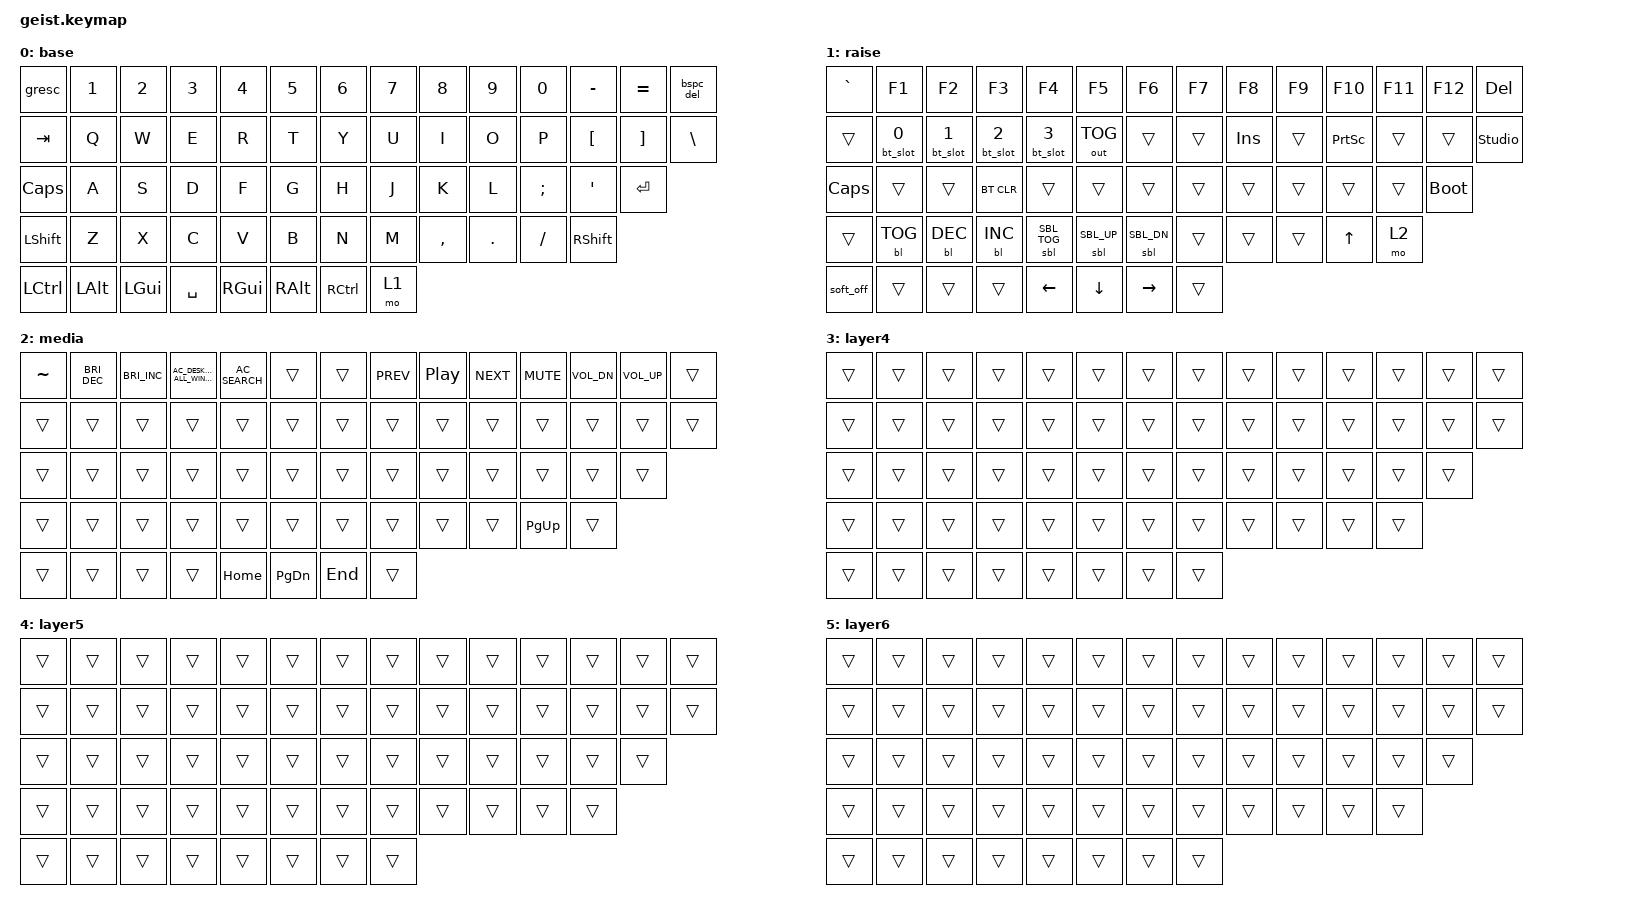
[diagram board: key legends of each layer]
/*
 * Copyright (c) 2021 Nick Winans
 *
 * SPDX-License-Identifier: MIT
 */

#include <behaviors.dtsi>
#include <dt-bindings/zmk/keys.h>
#include <dt-bindings/zmk/rgb.h>
#include <dt-bindings/zmk/bt.h>
#include <dt-bindings/zmk/backlight.h>
#include <dt-bindings/ryong/smart_backlight.h>
#include <dt-bindings/zmk/outputs.h>

#define ZMK_POINTING_DEFAULT_MOVE_VAL 3000  // default: 600
#define ZMK_POINTING_DEFAULT_SCRL_VAL 40    // default: 10

#include <dt-bindings/zmk/pointing.h>
#include "ryong-behaviors.dtsi"

// 전원: Fn + 왼쪽 Ctrl 자리에 ZMK 공식 Soft Off. 3초 누르고 떼면 꺼짐(시간은 ryong-behaviors.json → keys.ryong.com 설정 탭).
//   다시 켤 때 = Fn + Soft Off 가 있는 키 3초 (geist_power.c). Fn 만 칩을 깨우므로 Fn 은 꼭 같이 눌러야 함.
//   ZMK Studio 로 Soft Off 를 다른 키에 옮기면 켜는 키도 따라감 (Fn + 그 키).

/*
 * geist 키맵 — 사용자의 BT60 V2 설정(hiryong/zmk-config-studio, bt60_v2.keymap)을 그대로 옮김
 *  base  : Mac 배열 (Ctrl · Alt(Option) · GUI(Cmd) · Space · GUI · Alt · Ctrl · Fn). 펌웨어 빌드 때 OS 자동 키로 바뀜
 *          (Windows 기기 = Win·Alt, Apple 기기 = Option·Command). Backspace = Shift 와 함께면 Delete (&bspc_del)
 *  raise : Fn(맨 아래 맨 오른쪽) — Esc 자리 = `, 왼쪽 Ctrl 자리 = Soft Off (3초 누르고 떼면 전원 끄기, 다시 켤 때도 Fn + 왼쪽 Ctrl 3초), Space 자리 = Space, F1~F12, / = ↑, 아래 줄 = ← ↓ →, Z/X/C = 백라이트, V = 스마트 백라이트 켬/끔, B/N = 감도 높임/낮춤, Q/W/E/R = 블루투스 1~4,
 *          D = 현재 슬롯 지우기, T = USB/블루투스 전환, Enter = 부트로더, \ = Studio 잠금 해제
 *  media : Fn + 오른쪽 Shift — 미디어·볼륨·밝기, PgUp/PgDn/Home/End
 */
/ {

  behaviors {
    // Backspace; with Shift held it sends Delete (Shift itself is not sent with it).
    bspc_del: backspace_delete {
      compatible = "zmk,behavior-mod-morph";
      #binding-cells = <0>;
      bindings = <&kp BSPC>, <&kp DEL>;
      mods = <(MOD_LSFT|MOD_RSFT)>;
      display-name = "Backspace/Delete";
    };
  };

  keymap {
    compatible = "zmk,keymap";

    base {
      display-name = "base";
      bindings = <
        &gresc &kp N1 &kp N2 &kp N3 &kp N4 &kp N5 &kp N6 &kp N7 &kp N8 &kp N9 &kp N0 &kp MINUS &kp EQUAL &bspc_del
        &kp TAB  &kp Q  &kp W  &kp E  &kp R  &kp T  &kp Y  &kp U  &kp I  &kp O  &kp P  &kp LBKT &kp RBKT &kp BSLH
        &kp CAPS &kp A  &kp S  &kp D  &kp F  &kp G  &kp H  &kp J  &kp K  &kp L  &kp SEMI &kp SQT &kp RET
        &kp LSHFT &kp Z  &kp X  &kp C  &kp V  &kp B  &kp N  &kp M  &kp COMMA &kp DOT &kp FSLH &kp RSHFT
        &kp LCTRL &kp LALT &kp LGUI &kp SPACE &kp RGUI &kp RALT &kp RCTRL &mo 1
      >;
    };

    raise {
      display-name = "raise";
      bindings = <
        &kp GRAVE &kp F1 &kp F2 &kp F3 &kp F4 &kp F5 &kp F6 &kp F7 &kp F8 &kp F9 &kp F10 &kp F11 &kp F12 &kp DEL
        &trans &bt_slot 0 &bt_slot 1 &bt_slot 2 &bt_slot 3 &out OUT_TOG &trans &trans &kp INS &trans &kp PSCRN &trans &trans &studio_unlock
        &kp CAPS &trans &trans &bt BT_CLR &trans &trans &trans &trans &trans &trans &trans &trans &bootloader
        &trans &bl BL_TOG &bl BL_DEC &bl BL_INC &sbl SBL_TOG &sbl SBL_UP &sbl SBL_DN &trans &trans &trans &kp UP &mo 2
        &soft_off &trans &trans &trans &kp LEFT &kp DOWN &kp RIGHT &trans
      >;
    };

    media {
      display-name = "media";
      bindings = <
        &kp TILDE &kp C_BRI_DEC &kp C_BRI_INC &kp C_AC_DESKTOP_SHOW_ALL_WINDOWS &kp C_AC_SEARCH &trans &trans &kp C_PREV &kp C_PLAY_PAUSE &kp C_NEXT &kp C_MUTE &kp C_VOL_DN &kp C_VOL_UP &trans
        &trans &trans &trans &trans &trans &trans &trans &trans &trans &trans &trans &trans &trans &trans
        &trans &trans &trans &trans &trans &trans &trans &trans &trans &trans &trans &trans &trans
        &trans &trans &trans &trans &trans &trans &trans &trans &trans &trans &kp PG_UP &trans
        &trans &trans &trans &trans &kp HOME &kp PG_DN &kp END &trans
      >;
    };

    layer4 {
      display-name = "layer4";
      bindings = <
        &trans &trans &trans &trans &trans &trans &trans &trans &trans &trans &trans &trans &trans &trans
        &trans &trans &trans &trans &trans &trans &trans &trans &trans &trans &trans &trans &trans &trans
        &trans &trans &trans &trans &trans &trans &trans &trans &trans &trans &trans &trans &trans
        &trans &trans &trans &trans &trans &trans &trans &trans &trans &trans &trans &trans
        &trans &trans &trans &trans &trans &trans &trans &trans
      >;
    };

    layer5 {
      display-name = "layer5";
      bindings = <
        &trans &trans &trans &trans &trans &trans &trans &trans &trans &trans &trans &trans &trans &trans
        &trans &trans &trans &trans &trans &trans &trans &trans &trans &trans &trans &trans &trans &trans
        &trans &trans &trans &trans &trans &trans &trans &trans &trans &trans &trans &trans &trans
        &trans &trans &trans &trans &trans &trans &trans &trans &trans &trans &trans &trans
        &trans &trans &trans &trans &trans &trans &trans &trans
      >;
    };

    layer6 {
      display-name = "layer6";
      bindings = <
        &trans &trans &trans &trans &trans &trans &trans &trans &trans &trans &trans &trans &trans &trans
        &trans &trans &trans &trans &trans &trans &trans &trans &trans &trans &trans &trans &trans &trans
        &trans &trans &trans &trans &trans &trans &trans &trans &trans &trans &trans &trans &trans
        &trans &trans &trans &trans &trans &trans &trans &trans &trans &trans &trans &trans
        &trans &trans &trans &trans &trans &trans &trans &trans
      >;
    };
  };
};
